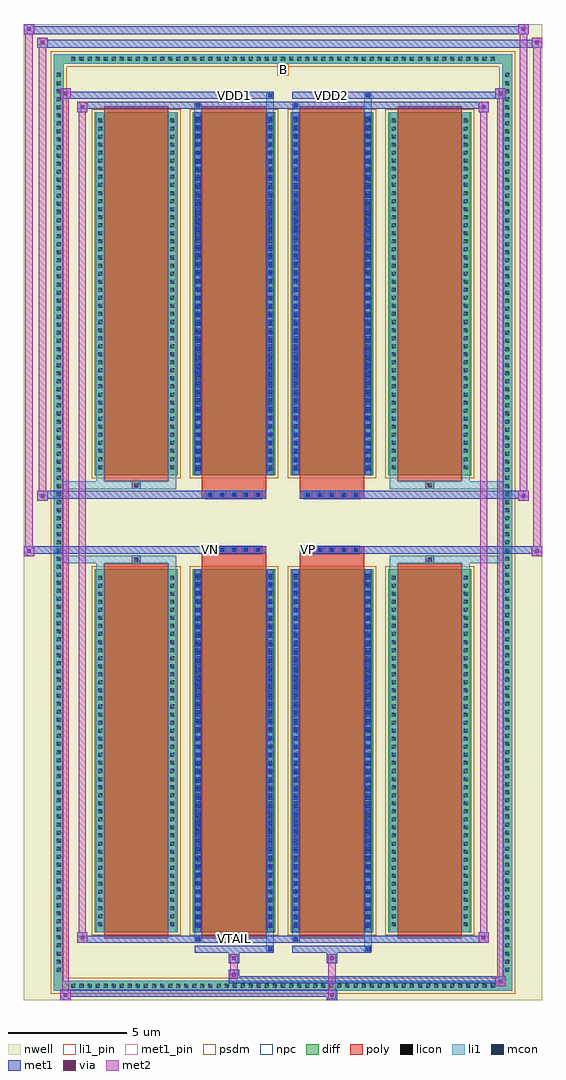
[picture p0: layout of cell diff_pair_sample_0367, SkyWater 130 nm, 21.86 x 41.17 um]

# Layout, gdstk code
import gdstk
lib = gdstk.Library(unit=1e-6, precision=5e-09)
def R(c, l, rs):  # rectangles x0, y0, x1, y1
    for r in rs: c.add(gdstk.rectangle(r[:2], r[2:], *l))
def A(c, l, x, y, w, h, nx, ny, dx, dy):  # array of equal rectangles
    R(c, l, [(x+i*dx, y+j*dy, x+i*dx+w, y+j*dy+h) for i in range(nx) for j in range(ny)])
def P(c, l, *ps):  # polygons
    for p in ps: c.add(gdstk.Polygon(p, *l))
nwell = (64, 20)
diff = (65, 20)
poly = (66, 20)
licon = (66, 44)
li1_pin = (67, 16)
li1 = (67, 20)
mcon = (67, 44)
met1_pin = (68, 16)
met1 = (68, 20)
via = (68, 44)
met2 = (69, 20)
psdm = (94, 20)
npc = (95, 20)

diff_pair_sample_0367 = lib.new_cell('diff_pair_sample_0367')
R(diff_pair_sample_0367, nwell, [(-10.93,-20.15,10.93,21.02), (-8.25,-18.34,-0.01,-0.8), (0.01,-18.34,8.25,-0.8), (-8.25,0.8,-0.01,18.34), (0.01,0.8,8.25,18.34)])
A(diff_pair_sample_0367, diff, -9.045, -19.75, 0.41, 0.41, 53, 2, 0.34, 39.09)
A(diff_pair_sample_0367, diff, -9.66, -19.075, 0.41, 0.41, 1, 112, 0, 0.34)
A(diff_pair_sample_0367, diff, 9.25, -19.075, 0.41, 0.41, 1, 112, 0, 0.34)
A(diff_pair_sample_0367, diff, -7.94, -17.295, 3.49, 15.31, 4, 2, 4.13, 19.28)
R(diff_pair_sample_0367, diff, [(-9.045,-19.75,9.045,-19.34), (-9.66,-19.075,-9.25,19.075), (9.25,-19.075,9.66,19.075), (-9.045,19.34,9.045,19.75)])
P(diff_pair_sample_0367, diff, [(9.66,19.75),(-9.66,19.75),(-9.66,-19.34),(-9.25,-19.34),(-9.25,19.34),(9.25,19.34),(9.25,-19.34),(-9.25,-19.34),(-9.66,-19.34),(-9.66,-19.75),(9.66,-19.75)])
A(diff_pair_sample_0367, poly, -7.55, -17.545, 2.71, 15.81, 4, 2, 4.13, 19.28)
A(diff_pair_sample_0367, poly, -3.23, -1.33, 0.33, 0.33, 5, 2, 0.5, 2.33)
A(diff_pair_sample_0367, poly, 0.9, -1.33, 0.33, 0.33, 5, 2, 0.5, 2.33)
R(diff_pair_sample_0367, poly, [(-6.36,-1.735,-6.03,-1.405), (-6.36,-1.735,-6.03,-1.405), (-3.42,-1.735,-0.71,-1.33), (0.71,-1.735,3.42,-1.33), (6.03,-1.735,6.36,-1.405), (6.03,-1.735,6.36,-1.405), (-3.42,-1.33,-0.71,-1), (0.71,-1.33,3.42,-1), (-3.42,1,-0.71,1.33), (0.71,1,3.42,1.33), (-3.42,1.33,-0.71,1.735), (0.71,1.33,3.42,1.735), (-6.36,1.405,-6.03,1.735), (-6.36,1.405,-6.03,1.735), (6.03,1.405,6.36,1.735), (6.03,1.405,6.36,1.735)])
A(diff_pair_sample_0367, licon, -8.925, -19.63, 0.17, 0.17, 53, 2, 0.34, 39.09)
A(diff_pair_sample_0367, licon, -9.54, -18.955, 0.17, 0.17, 1, 112, 0, 0.34)
A(diff_pair_sample_0367, licon, 9.37, -18.955, 0.17, 0.17, 1, 112, 0, 0.34)
A(diff_pair_sample_0367, licon, -7.8, -17.035, 0.17, 0.17, 1, 44, 0, 0.34)
A(diff_pair_sample_0367, licon, -4.76, -17.035, 0.17, 0.17, 1, 44, 0, 0.34)
A(diff_pair_sample_0367, licon, -3.67, -17.035, 0.17, 0.17, 1, 44, 0, 0.34)
A(diff_pair_sample_0367, licon, -0.63, -17.035, 0.17, 0.17, 1, 44, 0, 0.34)
A(diff_pair_sample_0367, licon, 0.46, -17.035, 0.17, 0.17, 1, 44, 0, 0.34)
A(diff_pair_sample_0367, licon, 3.5, -17.035, 0.17, 0.17, 1, 44, 0, 0.34)
A(diff_pair_sample_0367, licon, 4.59, -17.035, 0.17, 0.17, 1, 44, 0, 0.34)
A(diff_pair_sample_0367, licon, 7.63, -17.035, 0.17, 0.17, 1, 44, 0, 0.34)
A(diff_pair_sample_0367, licon, -3.15, -1.25, 0.17, 0.17, 5, 2, 0.5, 2.33)
A(diff_pair_sample_0367, licon, 0.98, -1.25, 0.17, 0.17, 5, 2, 0.5, 2.33)
A(diff_pair_sample_0367, licon, -7.8, 2.245, 0.17, 0.17, 1, 44, 0, 0.34)
A(diff_pair_sample_0367, licon, -4.76, 2.245, 0.17, 0.17, 1, 44, 0, 0.34)
A(diff_pair_sample_0367, licon, -3.67, 2.245, 0.17, 0.17, 1, 44, 0, 0.34)
A(diff_pair_sample_0367, licon, -0.63, 2.245, 0.17, 0.17, 1, 44, 0, 0.34)
A(diff_pair_sample_0367, licon, 0.46, 2.245, 0.17, 0.17, 1, 44, 0, 0.34)
A(diff_pair_sample_0367, licon, 3.5, 2.245, 0.17, 0.17, 1, 44, 0, 0.34)
A(diff_pair_sample_0367, licon, 4.59, 2.245, 0.17, 0.17, 1, 44, 0, 0.34)
A(diff_pair_sample_0367, licon, 7.63, 2.245, 0.17, 0.17, 1, 44, 0, 0.34)
R(diff_pair_sample_0367, licon, [(-6.28,-1.655,-6.11,-1.485), (6.11,-1.655,6.28,-1.485), (-6.28,1.485,-6.11,1.655), (6.11,1.485,6.28,1.655)])
R(diff_pair_sample_0367, li1_pin, [(-0.25,18.84,0.25,19.34)])
A(diff_pair_sample_0367, li1, -9.005, -19.71, 0.33, 0.33, 53, 2, 0.34, 39.09)
A(diff_pair_sample_0367, li1, -9.62, -19.035, 0.33, 0.33, 1, 112, 0, 0.34)
A(diff_pair_sample_0367, li1, 9.29, -19.035, 0.33, 0.33, 1, 112, 0, 0.34)
A(diff_pair_sample_0367, li1, -7.88, -17.115, 0.33, 0.33, 1, 44, 0, 0.34)
A(diff_pair_sample_0367, li1, -4.84, -17.115, 0.33, 0.33, 1, 44, 0, 0.34)
A(diff_pair_sample_0367, li1, -3.75, -17.115, 0.33, 0.33, 1, 44, 0, 0.34)
A(diff_pair_sample_0367, li1, -0.71, -17.115, 0.33, 0.33, 1, 44, 0, 0.34)
A(diff_pair_sample_0367, li1, 0.38, -17.115, 0.33, 0.33, 1, 44, 0, 0.34)
A(diff_pair_sample_0367, li1, 3.42, -17.115, 0.33, 0.33, 1, 44, 0, 0.34)
A(diff_pair_sample_0367, li1, 4.51, -17.115, 0.33, 0.33, 1, 44, 0, 0.34)
A(diff_pair_sample_0367, li1, 7.55, -17.115, 0.33, 0.33, 1, 44, 0, 0.34)
A(diff_pair_sample_0367, li1, -3.67, -17.105, 0.17, 0.17, 1, 42, 0, 0.36)
A(diff_pair_sample_0367, li1, -0.63, -17.105, 0.17, 0.17, 1, 42, 0, 0.36)
A(diff_pair_sample_0367, li1, 0.46, -17.105, 0.17, 0.17, 1, 42, 0, 0.36)
A(diff_pair_sample_0367, li1, 3.5, -17.105, 0.17, 0.17, 1, 42, 0, 0.36)
A(diff_pair_sample_0367, li1, -3.23, -1.33, 0.33, 0.33, 5, 2, 0.5, 2.33)
A(diff_pair_sample_0367, li1, 0.9, -1.33, 0.33, 0.33, 5, 2, 0.5, 2.33)
A(diff_pair_sample_0367, li1, -7.88, 2.165, 0.33, 0.33, 1, 44, 0, 0.34)
A(diff_pair_sample_0367, li1, -4.84, 2.165, 0.33, 0.33, 1, 44, 0, 0.34)
A(diff_pair_sample_0367, li1, -3.75, 2.165, 0.33, 0.33, 1, 44, 0, 0.34)
A(diff_pair_sample_0367, li1, -0.71, 2.165, 0.33, 0.33, 1, 44, 0, 0.34)
A(diff_pair_sample_0367, li1, 0.38, 2.165, 0.33, 0.33, 1, 44, 0, 0.34)
A(diff_pair_sample_0367, li1, 3.42, 2.165, 0.33, 0.33, 1, 44, 0, 0.34)
A(diff_pair_sample_0367, li1, 4.51, 2.165, 0.33, 0.33, 1, 44, 0, 0.34)
A(diff_pair_sample_0367, li1, 7.55, 2.165, 0.33, 0.33, 1, 44, 0, 0.34)
A(diff_pair_sample_0367, li1, -3.67, 2.175, 0.17, 0.17, 1, 42, 0, 0.36)
A(diff_pair_sample_0367, li1, -0.63, 2.175, 0.17, 0.17, 1, 42, 0, 0.36)
A(diff_pair_sample_0367, li1, 0.46, 2.175, 0.17, 0.17, 1, 42, 0, 0.36)
A(diff_pair_sample_0367, li1, 3.5, 2.175, 0.17, 0.17, 1, 42, 0, 0.36)
R(diff_pair_sample_0367, li1, [(-9.66,-19.75,-9.25,-19.34), (-9.66,-19.75,-9.25,-19.34), (-9.25,-19.75,9.25,-19.34), (9.25,-19.75,9.66,-19.34), (9.25,-19.75,9.66,-19.34), (-9.66,-19.34,-9.25,19.34), (9.25,-19.34,9.66,19.34), (-0.71,-18.1,-0.38,-17.295), (-0.63,-18.1,-0.46,-17.93), (3.42,-18.1,3.75,-17.295), (3.5,-18.1,3.67,-17.93), (-3.75,-17.67,-3.42,-17.295), (-3.67,-17.67,-3.5,-17.5), (0.38,-17.67,0.71,-17.295), (0.46,-17.67,0.63,-17.5), (-7.88,-17.295,-7.55,-1.985), (-4.84,-17.295,-4.51,-1.985), (-3.75,-17.295,-3.42,-1.985), (-0.71,-17.295,-0.38,-1.985), (0.38,-17.295,0.71,-1.985), (3.42,-17.295,3.75,-1.985), (4.51,-17.295,4.84,-1.985), (7.55,-17.295,7.88,-1.985), (-3.67,-17.105,-3.5,-2.175), (-0.63,-17.105,-0.46,-2.175), (0.46,-17.105,0.63,-2.175), (3.5,-17.105,3.67,-2.175), (-7.88,-1.985,-7.55,-1.405), (-4.84,-1.985,-4.51,-1.405), (4.51,-1.985,4.84,-1.405), (7.55,-1.985,7.88,-1.405), (-9.66,-1.735,-6.36,-1.405), (-7.88,-1.735,-6.36,-1.405), (-6.36,-1.735,-6.03,-1.405), (-6.03,-1.735,-4.51,-1.405), (4.51,-1.735,6.03,-1.405), (6.03,-1.735,6.36,-1.405), (6.03,-1.735,9.66,-1.405), (6.36,-1.735,7.88,-1.405), (-9.66,1.405,-6.36,1.735), (-7.88,1.405,-6.36,1.735), (-7.88,1.405,-7.55,1.985), (-6.36,1.405,-6.03,1.735), (-6.03,1.405,-4.51,1.735), (-4.84,1.405,-4.51,1.985), (4.51,1.405,6.03,1.735), (4.51,1.405,4.84,1.985), (6.03,1.405,6.36,1.735), (6.03,1.405,9.66,1.735), (6.36,1.405,7.88,1.735), (7.55,1.405,7.88,1.985), (-7.88,1.985,-7.55,17.295), (-4.84,1.985,-4.51,17.295), (-3.75,1.985,-3.42,17.295), (-0.71,1.985,-0.38,17.295), (0.38,1.985,0.71,17.295), (3.42,1.985,3.75,17.295), (4.51,1.985,4.84,17.295), (7.55,1.985,7.88,17.295), (-3.67,2.175,-3.5,17.105), (-0.63,2.175,-0.46,17.105), (0.46,2.175,0.63,17.105), (3.5,2.175,3.67,17.105), (-3.75,17.295,-3.42,17.67), (-0.71,17.295,-0.38,18.1), (0.38,17.295,0.71,17.67), (3.42,17.295,3.75,18.1), (-3.67,17.5,-3.5,17.67), (0.46,17.5,0.63,17.67), (-0.63,17.93,-0.46,18.1), (3.5,17.93,3.67,18.1), (-9.66,19.34,-9.25,19.75), (-9.66,19.34,-9.25,19.75), (-9.25,19.34,9.25,19.75), (9.25,19.34,9.66,19.75), (9.25,19.34,9.66,19.75)])
A(diff_pair_sample_0367, mcon, -3.67, -17.105, 0.17, 0.17, 1, 42, 0, 0.36)
A(diff_pair_sample_0367, mcon, -0.63, -17.105, 0.17, 0.17, 1, 42, 0, 0.36)
A(diff_pair_sample_0367, mcon, 0.46, -17.105, 0.17, 0.17, 1, 42, 0, 0.36)
A(diff_pair_sample_0367, mcon, 3.5, -17.105, 0.17, 0.17, 1, 42, 0, 0.36)
A(diff_pair_sample_0367, mcon, -3.15, -1.25, 0.17, 0.17, 5, 2, 0.5, 2.33)
A(diff_pair_sample_0367, mcon, 0.98, -1.25, 0.17, 0.17, 5, 2, 0.5, 2.33)
A(diff_pair_sample_0367, mcon, -3.67, 2.175, 0.17, 0.17, 1, 42, 0, 0.36)
A(diff_pair_sample_0367, mcon, -0.63, 2.175, 0.17, 0.17, 1, 42, 0, 0.36)
A(diff_pair_sample_0367, mcon, 0.46, 2.175, 0.17, 0.17, 1, 42, 0, 0.36)
A(diff_pair_sample_0367, mcon, 3.5, 2.175, 0.17, 0.17, 1, 42, 0, 0.36)
R(diff_pair_sample_0367, mcon, [(-0.63,-18.1,-0.46,-17.93), (3.5,-18.1,3.67,-17.93), (-3.67,-17.67,-3.5,-17.5), (0.46,-17.67,0.63,-17.5), (-3.67,17.5,-3.5,17.67), (0.46,17.5,0.63,17.67), (-0.63,17.93,-0.46,18.1), (3.5,17.93,3.67,18.1)])
R(diff_pair_sample_0367, met1_pin, [(-2.2,-17.71,-1.93,-17.44), (-3.2,-1.29,-2.93,-1.02), (0.93,-1.29,1.2,-1.02), (-2.2,17.89,-1.93,18.16), (1.93,17.89,2.2,18.16)])
A(diff_pair_sample_0367, met1, -3.73, -17.165, 0.29, 0.29, 1, 42, 0, 0.36)
A(diff_pair_sample_0367, met1, -0.69, -17.165, 0.29, 0.29, 1, 42, 0, 0.36)
A(diff_pair_sample_0367, met1, 0.4, -17.165, 0.29, 0.29, 1, 42, 0, 0.36)
A(diff_pair_sample_0367, met1, 3.44, -17.165, 0.29, 0.29, 1, 42, 0, 0.36)
A(diff_pair_sample_0367, met1, -3.21, -1.31, 0.29, 0.29, 5, 2, 0.5, 2.33)
A(diff_pair_sample_0367, met1, 0.92, -1.31, 0.29, 0.29, 5, 2, 0.5, 2.33)
A(diff_pair_sample_0367, met1, -3.73, 2.115, 0.29, 0.29, 1, 42, 0, 0.36)
A(diff_pair_sample_0367, met1, -0.69, 2.115, 0.29, 0.29, 1, 42, 0, 0.36)
A(diff_pair_sample_0367, met1, 0.4, 2.115, 0.29, 0.29, 1, 42, 0, 0.36)
A(diff_pair_sample_0367, met1, 3.44, 2.115, 0.29, 0.29, 1, 42, 0, 0.36)
R(diff_pair_sample_0367, met1, [(-9.39,-20.15,-8.96,-19.72), (1.85,-20.15,2.28,-19.72), (-9.39,-20.01,2.28,-19.72), (8.96,-19.58,9.39,-19.15), (-2.28,-19.44,9.39,-19.15), (-2.28,-19.3,-1.85,-18.87), (-2.28,-18.59,-1.85,-18.16), (1.85,-18.59,2.28,-18.16), (-3.73,-18.16,-0.4,-17.87), (-0.69,-18.16,-0.4,-17.87), (0.4,-18.16,3.73,-17.87), (3.44,-18.16,3.73,-17.87), (-8.68,-17.73,-8.25,-17.3), (-8.68,-17.73,-3.73,-17.44), (-3.73,-17.73,-3.44,-17.44), (-3.73,-17.73,-0.4,-17.44), (-0.4,-17.73,0.4,-17.44), (0.4,-17.73,0.69,-17.44), (0.4,-17.73,3.73,-17.44), (3.73,-17.73,8.68,-17.44), (8.25,-17.73,8.68,-17.3), (-3.73,-17.295,-3.44,-1.985), (-0.69,-17.295,-0.4,-1.985), (0.4,-17.295,0.69,-1.985), (3.44,-17.295,3.73,-1.985), (-10.93,-1.43,-10.5,-1), (10.5,-1.43,10.93,-1), (-10.93,-1.33,-0.71,-1), (-3.42,-1.33,-0.71,-1), (0.71,-1.33,3.42,-1), (0.71,-1.33,10.93,-1), (-10.36,0.9,-9.93,1.33), (9.93,0.9,10.36,1.33), (-10.36,1,-3.42,1.33), (-3.42,1,-0.71,1.33), (0.71,1,3.42,1.33), (3.42,1,10.36,1.33), (-3.73,1.985,-3.44,17.295), (-0.69,1.985,-0.4,17.295), (0.4,1.985,0.69,17.295), (3.44,1.985,3.73,17.295), (-8.68,17.3,-8.25,17.73), (8.25,17.3,8.68,17.73), (-8.68,17.44,-3.73,17.73), (-3.73,17.44,-3.44,17.73), (-3.73,17.44,-0.4,17.73), (-0.4,17.44,0.4,17.73), (0.4,17.44,0.69,17.73), (0.4,17.44,3.73,17.73), (3.73,17.44,8.68,17.73), (-9.39,17.87,-8.96,18.3), (-9.39,17.87,-3.73,18.16), (-3.73,17.87,-0.4,18.16), (-0.69,17.87,-0.4,18.16), (0.4,17.87,3.73,18.16), (3.44,17.87,3.73,18.16), (3.73,17.87,9.39,18.16), (8.96,17.87,9.39,18.3), (-10.36,20.02,-9.93,20.45), (-10.36,20.02,-8.25,20.35), (-8.25,20.02,8.25,20.35), (8.25,20.02,10.93,20.35), (10.5,20.02,10.93,20.45), (-10.93,20.59,-10.5,21.02), (-10.93,20.59,-8.25,20.92), (-8.25,20.59,8.25,20.92), (8.25,20.59,10.36,20.92), (9.93,20.59,10.36,21.02)])
R(diff_pair_sample_0367, via, [(-9.25,-20.01,-9.1,-19.86), (1.99,-20.01,2.14,-19.86), (9.1,-19.44,9.25,-19.29), (-2.14,-19.16,-1.99,-19.01), (-2.14,-18.45,-1.99,-18.3), (1.99,-18.45,2.14,-18.3), (-8.54,-17.59,-8.39,-17.44), (8.39,-17.59,8.54,-17.44), (-10.79,-1.29,-10.64,-1.14), (10.64,-1.29,10.79,-1.14), (-10.22,1.04,-10.07,1.19), (10.07,1.04,10.22,1.19), (-8.54,17.44,-8.39,17.59), (8.39,17.44,8.54,17.59), (-9.25,18.01,-9.1,18.16), (9.1,18.01,9.25,18.16), (-10.22,20.16,-10.07,20.31), (10.64,20.16,10.79,20.31), (-10.79,20.73,-10.64,20.88), (10.07,20.73,10.22,20.88)])
R(diff_pair_sample_0367, met2, [(-9.39,-20.15,-8.96,-19.72), (-9.32,-20.15,-9.03,18.3), (-9.03,-20.15,-8.96,-19.72), (-9.34,-20.1,-9.01,-19.77), (1.9,-20.1,2.23,-19.77), (1.9,-19.77,2.23,-18.54), (8.96,-19.58,9.39,-19.15), (9.03,-19.58,9.32,18.3), (9.32,-19.58,9.39,-19.15), (9.01,-19.53,9.34,-19.2), (-2.23,-19.25,-1.9,-18.92), (-2.23,-18.92,-1.9,-18.54), (-2.23,-18.54,-1.9,-18.21), (1.9,-18.54,2.23,-18.21), (-8.68,-17.73,-8.25,-17.3), (-8.61,-17.73,-8.32,17.73), (-8.32,-17.73,-8.25,-17.3), (8.25,-17.73,8.68,-17.3), (8.32,-17.73,8.61,17.73), (8.61,-17.73,8.68,-17.3), (-8.63,-17.68,-8.3,-17.35), (8.3,-17.68,8.63,-17.35), (-10.93,-1.43,-10.5,-1), (-10.88,-1.43,-10.55,21.02), (-10.55,-1.43,-10.5,-1), (10.5,-1.43,10.93,-1), (10.55,-1.43,10.88,20.45), (10.88,-1.43,10.93,-1), (-10.88,-1.38,-10.55,-1.05), (10.55,-1.38,10.88,-1.05), (-10.36,0.9,-9.93,1.33), (-10.31,0.9,-9.98,20.45), (-9.98,0.9,-9.93,1.33), (9.93,0.9,10.36,1.33), (9.98,0.9,10.31,21.02), (10.31,0.9,10.36,1.33), (-10.31,0.95,-9.98,1.28), (9.98,0.95,10.31,1.28), (-8.68,17.3,-8.25,17.73), (-8.32,17.3,-8.25,17.73), (8.25,17.3,8.68,17.73), (8.61,17.3,8.68,17.73), (-8.63,17.35,-8.3,17.68), (8.3,17.35,8.63,17.68), (-9.39,17.87,-8.96,18.3), (-9.03,17.87,-8.96,18.3), (8.96,17.87,9.39,18.3), (9.32,17.87,9.39,18.3), (-9.34,17.92,-9.01,18.25), (9.01,17.92,9.34,18.25), (-10.36,20.02,-9.93,20.45), (-9.98,20.02,-9.93,20.45), (10.5,20.02,10.93,20.45), (10.88,20.02,10.93,20.45), (-10.31,20.07,-9.98,20.4), (10.55,20.07,10.88,20.4), (-10.93,20.59,-10.5,21.02), (-10.55,20.59,-10.5,21.02), (9.93,20.59,10.36,21.02), (10.31,20.59,10.36,21.02), (-10.88,20.64,-10.55,20.97), (9.98,20.64,10.31,20.97)])
A(diff_pair_sample_0367, psdm, -8.07, -17.425, 3.75, 15.57, 4, 2, 4.13, 19.28)
P(diff_pair_sample_0367, psdm, [(9.79,19.88),(-9.79,19.88),(-9.79,-19.21),(-9.12,-19.21),(-9.12,19.21),(9.12,19.21),(9.12,-19.21),(-9.12,-19.21),(-9.79,-19.21),(-9.79,-19.88),(9.79,-19.88)])
A(diff_pair_sample_0367, npc, -3.25, -1.35, 0.37, 0.37, 5, 2, 0.5, 2.33)
A(diff_pair_sample_0367, npc, 0.88, -1.35, 0.37, 0.37, 5, 2, 0.5, 2.33)
R(diff_pair_sample_0367, npc, [(-6.38,-1.755,-6.01,-1.385), (6.01,-1.755,6.38,-1.385), (-3.25,-1.35,-2.38,-0.98), (-3.25,-1.35,-2.38,-0.98), (-2.75,-1.35,-1.88,-0.98), (-2.75,-1.35,-1.88,-0.98), (-2.25,-1.35,-1.38,-0.98), (-2.25,-1.35,-1.38,-0.98), (-1.75,-1.35,-0.88,-0.98), (-1.75,-1.35,-0.88,-0.98), (0.88,-1.35,1.75,-0.98), (0.88,-1.35,1.75,-0.98), (1.38,-1.35,2.25,-0.98), (1.38,-1.35,2.25,-0.98), (1.88,-1.35,2.75,-0.98), (1.88,-1.35,2.75,-0.98), (2.38,-1.35,3.25,-0.98), (2.38,-1.35,3.25,-0.98), (-3.25,0.98,-2.38,1.35), (-3.25,0.98,-2.38,1.35), (-2.75,0.98,-1.88,1.35), (-2.75,0.98,-1.88,1.35), (-2.25,0.98,-1.38,1.35), (-2.25,0.98,-1.38,1.35), (-1.75,0.98,-0.88,1.35), (-1.75,0.98,-0.88,1.35), (0.88,0.98,1.75,1.35), (0.88,0.98,1.75,1.35), (1.38,0.98,2.25,1.35), (1.38,0.98,2.25,1.35), (1.88,0.98,2.75,1.35), (1.88,0.98,2.75,1.35), (2.38,0.98,3.25,1.35), (2.38,0.98,3.25,1.35), (-6.38,1.385,-6.01,1.755), (6.01,1.385,6.38,1.755)])
diff_pair_sample_0367.add(gdstk.Label('VTAIL', (-2.065,-17.575), layer=68, texttype=5))
diff_pair_sample_0367.add(gdstk.Label('VN', (-3.065,-1.155), layer=68, texttype=5))
diff_pair_sample_0367.add(gdstk.Label('VP', (1.065,-1.155), layer=68, texttype=5))
diff_pair_sample_0367.add(gdstk.Label('B', (0,19.09), layer=67, texttype=5))
diff_pair_sample_0367.add(gdstk.Label('VDD2', (2.065,18.025), layer=68, texttype=5))
diff_pair_sample_0367.add(gdstk.Label('VDD1', (-2.065,18.025), layer=68, texttype=5))

lib.write_gds('diff_pair_sample_0367.gds')
